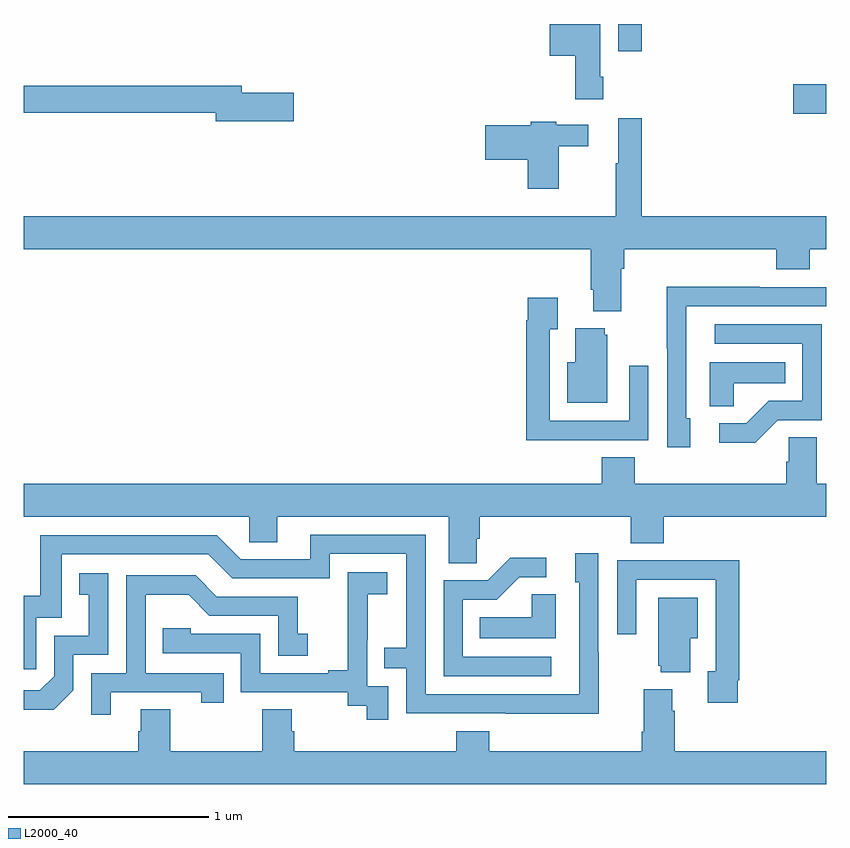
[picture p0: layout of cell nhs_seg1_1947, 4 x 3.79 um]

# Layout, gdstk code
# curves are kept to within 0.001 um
import gdstk
lib = gdstk.Library(unit=1e-6, precision=1e-09)
def R(c, l, rs):  # rectangles x0, y0, x1, y1
    for r in rs: c.add(gdstk.rectangle(r[:2], r[2:], *l))
def P(c, l, *ps):  # polygons
    for p in ps: c.add(gdstk.Polygon(p, *l))
L2000_40 = (2000, 40)

nhs_seg1_1947 = lib.new_cell('nhs_seg1_1947')
R(nhs_seg1_1947, L2000_40, [(220.836,541.751,221,541.898), (219.963,542.064,220.079,542.199)])
P(nhs_seg1_1947, L2000_40, [(219.887,541.936),(219.874,541.936),(219.874,542.199),(219.621,542.199),(219.621,542.042),(219.749,542.042),(219.749,541.824),(219.887,541.824)],
  [(218.347,541.856),(218.086,541.856),(218.086,541.892),(217,541.892),(217,541.756),(217.958,541.756),(217.958,541.714),(218.347,541.714)],
  [(219.979,540.98),(219.992,540.98),(219.992,541.076),(220.751,541.076),(220.751,540.977),(220.916,540.977),(220.916,541.076),(221,541.076),(221,541.24),(220.079,541.24),(220.079,541.729),(219.962,541.729),(219.962,541.505),(219.951,541.505),(219.951,541.24),(217,541.24),(217,541.076),(219.827,541.076),(219.827,540.874),(219.839,540.874),(219.839,540.767),(219.979,540.767)],
  [(219.666,541.59),(219.814,541.59),(219.814,541.698),(219.654,541.698),(219.654,541.711),(219.528,541.711),(219.528,541.694),(219.3,541.694),(219.3,541.523),(219.512,541.523),(219.512,541.377),(219.666,541.377)],
  [(220.321,540.234),(220.302,540.234),(220.302,540.792),(221,540.792),(221,540.888),(220.667,540.888),(220.667,540.89),(220.204,540.89),(220.204,540.583),(220.206,540.583),(220.206,540.09),(220.321,540.09)],
  [(219.797,540.126),(220.113,540.126),(220.113,540.496),(220.017,540.496),(220.017,540.222),(219.621,540.222),(219.621,540.679),(219.661,540.679),(219.661,540.835),(219.513,540.835),(219.513,540.722),(219.505,540.722),(219.505,540.125),(219.797,540.125)],
  [(220.758,540.225),(220.977,540.225),(220.977,540.702),(220.443,540.702),(220.443,540.606),(220.881,540.606),(220.881,540.321),(220.712,540.321),(220.601,540.21),(220.467,540.21),(220.467,540.113),(220.645,540.113)],
  [(219.907,540.651),(219.896,540.651),(219.896,540.682),(219.749,540.682),(219.749,540.514),(219.71,540.514),(219.71,540.311),(219.907,540.311)],
  [(220.539,540.41),(220.796,540.41),(220.796,540.514),(220.418,540.514),(220.418,540.295),(220.539,540.295)],
  [(219.258,539.635),(219.272,539.635),(219.272,539.744),(220.025,539.744),(220.025,539.611),(220.19,539.611),(220.19,539.744),(221,539.744),(221,539.908),(220.951,539.908),(220.951,540.14),(220.812,540.14),(220.812,540.017),(220.799,540.017),(220.799,539.908),(220.046,539.908),(220.046,540.041),(219.881,540.041),(219.881,539.908),(217,539.908),(217,539.744),(218.124,539.744),(218.124,539.617),(218.263,539.617),(218.263,539.744),(219.119,539.744),(219.119,539.512),(219.258,539.512)],
  [(219.867,539.069),(219.864,539.069),(219.864,539.563),(219.749,539.563),(219.749,539.418),(219.768,539.418),(219.768,538.86),(219.003,538.86),(219.003,539.655),(218.429,539.655),(218.429,539.532),(218.082,539.532),(217.962,539.652),(217.083,539.652),(217.083,539.35),(217,539.35),(217,538.983),(217.062,538.983),(217.062,539.241),(217.191,539.241),(217.191,539.556),(217.92,539.556),(218.04,539.436),(218.526,539.436),(218.526,539.559),(218.907,539.559),(218.907,539.09),(218.797,539.09),(218.797,538.989),(218.907,538.989),(218.907,538.764),(219.867,538.763)],
  [(219.628,539.046),(219.189,539.046),(219.189,539.331),(219.358,539.331),(219.469,539.442),(219.604,539.442),(219.604,539.54),(219.425,539.54),(219.312,539.427),(219.093,539.427),(219.093,538.95),(219.628,538.95)],
  [(220.558,538.93),(220.565,538.93),(220.565,539.528),(220.273,539.528),(220.273,539.526),(219.957,539.526),(219.957,539.157),(220.053,539.157),(220.053,539.43),(220.449,539.43),(220.449,538.974),(220.409,538.974),(220.409,538.818),(220.558,538.818)],
  [(218.817,538.899),(218.712,538.899),(218.712,539.129),(218.714,539.129),(218.714,539.357),(218.812,539.357),(218.812,539.467),(218.614,539.467),(218.614,539.261),(218.615,539.261),(218.615,538.978),(218.519,538.978),(218.519,538.965),(218.178,538.965),(218.178,539.16),(217.833,539.16),(217.833,539.187),(217.693,539.187),(217.693,539.064),(218.082,539.064),(218.082,538.869),(218.616,538.869),(218.616,538.801),(218.709,538.801),(218.709,538.731),(218.817,538.731)],
  [(217.248,538.878),(217.248,539.055),(217.422,539.055),(217.422,539.461),(217.276,539.461),(217.276,539.355),(217.325,539.355),(217.325,539.151),(217.152,539.151),(217.152,538.95),(217.08,538.878),(217,538.878),(217,538.781),(217.15,538.781)],
  [(217.435,538.869),(217.886,538.869),(217.886,538.818),(217.997,538.818),(217.997,538.965),(217.608,538.965),(217.608,539.354),(217.822,539.354),(217.926,539.25),(218.268,539.25),(218.268,539.052),(218.416,539.052),(218.416,539.161),(218.367,539.161),(218.367,539.346),(217.963,539.346),(217.858,539.451),(217.512,539.451),(217.512,538.965),(217.338,538.965),(217.338,538.758),(217.435,538.758)],
  [(219.652,539.357),(219.531,539.357),(219.531,539.242),(219.274,539.242),(219.274,539.138),(219.652,539.138)],
  [(220.321,539.138),(220.36,539.138),(220.36,539.341),(220.163,539.341),(220.163,539.001),(220.175,539.001),(220.175,538.97),(220.321,538.97)],
  [(221,538.576),(220.244,538.576),(220.244,538.778),(220.231,538.778),(220.231,538.885),(220.091,538.885),(220.091,538.672),(220.079,538.672),(220.079,538.576),(219.32,538.576),(219.32,538.675),(219.155,538.675),(219.155,538.576),(218.348,538.576),(218.348,538.674),(218.335,538.674),(218.335,538.784),(218.188,538.784),(218.188,538.576),(217.731,538.576),(217.731,538.784),(217.583,538.784),(217.583,538.674),(217.571,538.674),(217.571,538.576),(217,538.576),(217,538.412),(221,538.412)])

lib.write_gds('nhs_seg1_1947.gds')
